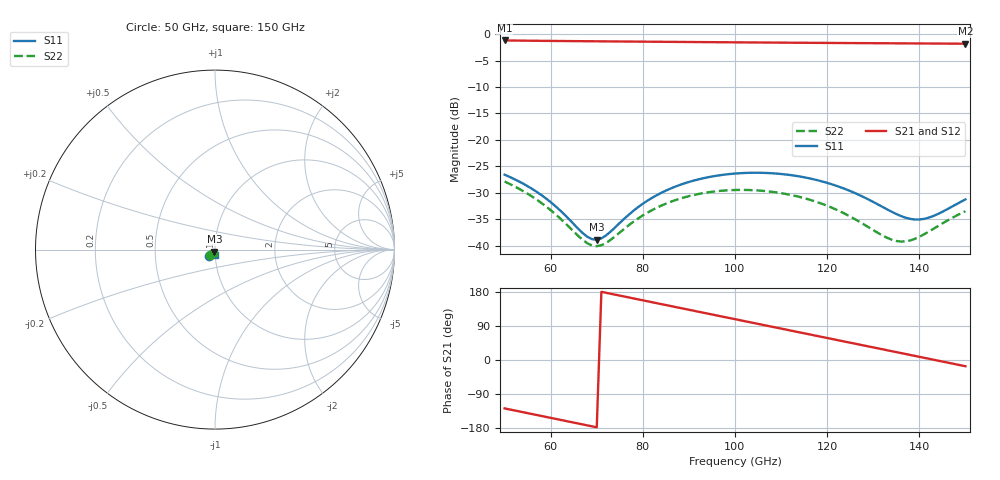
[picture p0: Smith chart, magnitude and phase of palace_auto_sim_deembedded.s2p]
! Created with skrf 1.11.0 (http://scikit-rf.org).
# GHz S DB R 50.0
!freq dBS11 angS11 dBS21 angS21 dBS12 angS12 dBS22 angS22
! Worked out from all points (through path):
!   101 points, 50 GHz to 150 GHz, reference 50 ohm
!   highest |S21| = -1.18 dB at 50 GHz (marker M1); lowest = -1.8 dB at 150 GHz (marker M2)
!   group delay of S21, straight-line fit = 6.91 ps
!   lowest |S11| = -38.9 dB at 70 GHz (marker M3), VSWR 1.02, Z = 49.6 - j1.07 ohm
!   |S11| at or under -10 dB: start of sweep to end of sweep
!   |S22| runs from -40.1 to -27.9 dB; largest |S21 - S12| = 9.4e-14
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50  -26.59 -133.2  -1.18 -127.8  -1.18 -127.8  -27.88 -136.1
55  -28.76 -142.9  -1.22 -140.2  -1.22 -140.2  -30.20 -146.3
59  -31.09 -147.8  -1.26 -150.2  -1.26 -150.2  -32.60 -151.7
62  -33.30 -148.2  -1.28 -157.7  -1.28 -157.7  -34.82 -152.3
67  -37.67 -132.8  -1.32 -170.1  -1.32 -170.1  -38.97 -138.3
69  -38.80 -117.1  -1.33 -175.1  -1.33 -175.1  -40.00 -124.7
70  -38.89 -107.9  -1.34 -177.6  -1.34 -177.6  -40.12 -116.8
72  -38.09 -91.4  -1.35 177.4  -1.35 177.4  -39.52 -102.5
77  -34.12 -73.5  -1.38 165.0  -1.38 165.0  -36.12 -86.4
80  -32.08 -72.8  -1.40 157.5  -1.40 157.5  -34.29 -86.1
84  -30.02 -76.4  -1.43 147.5  -1.43 147.5  -32.44 -90.4
92  -27.49 -89.3  -1.48 127.6  -1.48 127.6  -30.25 -105.0
100  -26.37 -104.5  -1.53 107.7  -1.53 107.7  -29.48 -122.1
108  -26.31 -119.6  -1.58 87.9  -1.58 87.9  -29.83 -139.1
112  -26.65 -126.8  -1.60 77.9  -1.60 77.9  -30.40 -147.0
117  -27.44 -134.8  -1.63 65.5  -1.63 65.5  -31.54 -155.7
126  -30.05 -144.2  -1.68 43.2  -1.68 43.2  -34.99 -164.1
134  -33.60 -137.9  -1.72 23.3  -1.72 23.3  -38.88 -147.9
137  -34.72 -128.2  -1.73 15.9  -1.73 15.9  -39.21 -133.5
141  -34.95 -110.5  -1.75 5.9  -1.75 5.9  -37.89 -117.3
144  -34.04 -99.1  -1.76 -1.5  -1.76 -1.5  -36.33 -111.5
150  -31.27 -89.2  -1.79 -16.4  -1.79 -16.4  -33.51 -111.4
